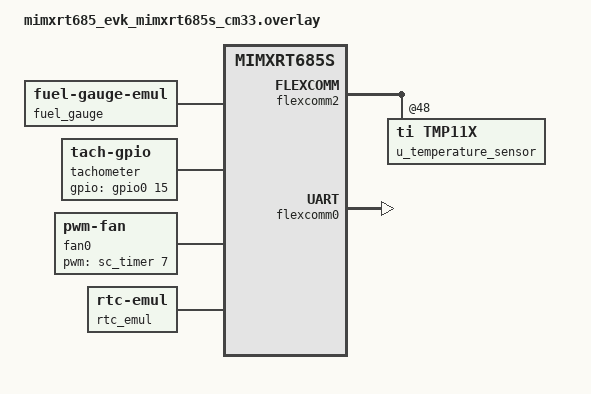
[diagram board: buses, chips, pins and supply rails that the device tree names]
&flexcomm2 {
	u_temperature_sensor: ti_tmp11x@48 {
		compatible = "ti,tmp11x";
		reg = <0x48>;
		#address-cells = <1>;
		#size-cells = <0>;
	};

	// fuel_gauge: sbs-gauge@b {
	// 	compatible = "sbs,sbs-gauge-new-api";
	// 	reg = <0x0b>;
	// };
};

/ {
	fuel_gauge: fuel-gauge-emul {
		compatible = "zephyr,fuel-gauge-emul";
		status = "okay";
	};
};

/ {
    tachometer: tachometer {
        compatible = "zephyr,tach-gpio";
        gpios = <&gpio0 15 (GPIO_ACTIVE_HIGH | GPIO_PULL_UP)>;
        pulses-per-round = <2>;
    };

	fan0: my-fan {
		compatible = "pwm-fan";
		pwms = <&sc_timer 7 40000 0>;
		max-rpm = <5000>;
		min-rpm = <0>;
		min-start-rpm = <3000>;
	};
};

/ {
    /* The actual RTC driver in zephyr */
    rtc_emul: rtc_emul {
        compatible = "zephyr,rtc-emul";
        status = "okay";
    };

    /* The Rust wrapper node */
    rs_rtc0: rs-rtc {
        compatible = "rs,rtc";
        rtc = <&rtc_emul>;       /* phandle to the real RTC */
        resolution-hz = <1>;     /* 1 Hz resolution */
    };
};

u_uart: &flexcomm0 {
	status = "okay";
};
